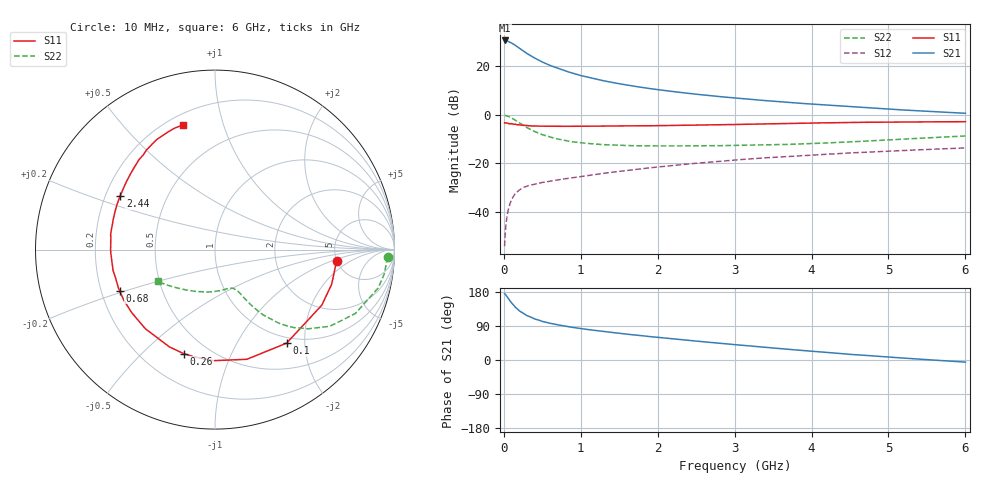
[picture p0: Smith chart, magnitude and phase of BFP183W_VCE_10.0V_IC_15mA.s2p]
! Infineon Technologies  Discrete & RF Semiconductors
! BFP183W
! VCE = 10.0V,  IC =  15 mA
! Common Emitter S-Parameters:  Jan 2016
# GHz  S  MA  R  50
!  f  S11  S21  S12  S22
! GHz  MAG  ANG  MAG  ANG  MAG  ANG  MAG  ANG
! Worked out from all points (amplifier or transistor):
!   210 points, 10 MHz to 6 GHz, reference 50 ohm
!   highest |S21| = 30.5 dB at 10 MHz (marker M1)
!   |S21| within 3 dB of that: start of sweep to 193.1 MHz
!   unconditionally stable (mu >= 1): 1.23 GHz to 5.466 GHz
!   at 185 MHz: K = 0.28, MSG = 29.5 dB, |S12| = -31.4 dB
!   at 1.52 GHz: K = 1.07, MAG = 16.3 dB, |S12| = -23.2 dB
!   at 6 GHz: K = 0.98, MSG = 7.1 dB, |S12| = -13.7 dB
!   S11 on the Smith chart (normalised r, x): 10 MHz: 4.98, -1.14; 100 MHz: 0.90, -1.65; 260 MHz: 0.37, -0.68; 680 MHz: 0.28, -0.19; 2.44 GHz: 0.26, +0.25; 6 GHz: 0.26, +0.75
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0.01  0.6804 -5.2  33.33 175.2  0.002 78.4  0.9628 -2.5
0.02  0.6763 -11.2  33.16 173.2  0.004 78.3  0.9561 -5.3
0.03  0.6781 -16.6  33.1 170.3  0.0061 78.8  0.954 -7.9
0.05  0.6707 -27.5  32.29 164.3  0.0099 76.1  0.9344 -13.2
0.1  0.6563 -52.6  29.69 150.8  0.0181 66.0  0.8592 -24.5
0.15  0.6364 -73.8  26.43 139.1  0.0242 57.9  0.7687 -33.8
0.2  0.6189 -90.8  23.19 130.0  0.0283 52.9  0.6806 -40.4
0.26  0.6056 -106.5  19.96 122.0  0.0323 48.1  0.5929 -46.2
0.3  0.5987 -115.1  18.03 117.2  0.0342 46.1  0.5421 -49.1
0.4  0.5873 -131.4  14.53 108.4  0.0375 43.2  0.4503 -53.7
0.5  0.582 -142.8  12.05 101.9  0.0406 42.8  0.3884 -56.2
0.6  0.581 -151.1  10.24 96.9  0.043 42.4  0.3459 -57.7
0.68  0.5787 -156.8  9.203 93.7  0.0454 43.1  0.3222 -58.6
0.8  0.5756 -163.7  7.864 89.1  0.0484 44.0  0.2936 -59.7
1.02  0.5788 -173.3  6.245 82.5  0.0543 46.0  0.2631 -61.4
1.4  0.5829 174.2  4.606 72.7  0.0654 48.4  0.2386 -64.9
2.02  0.596 159.1  3.232 59.4  0.085 49.7  0.228 -73.3
2.44  0.6072 150.4  2.692 51.1  0.0987 49.1  0.2287 -80.3
3.1  0.6318 138.3  2.131 38.9  0.1204 46.7  0.2351 -93.4
4.1  0.6769 123.1  1.611 21.8  0.1514 41.6  0.2588 -116.4
5.1  0.7056 111.8  1.271 6.4  0.181 35.8  0.3092 -137.4
6  0.7176 104.2  1.068 -5.6  0.2076 30.7  0.3652 -150.9
